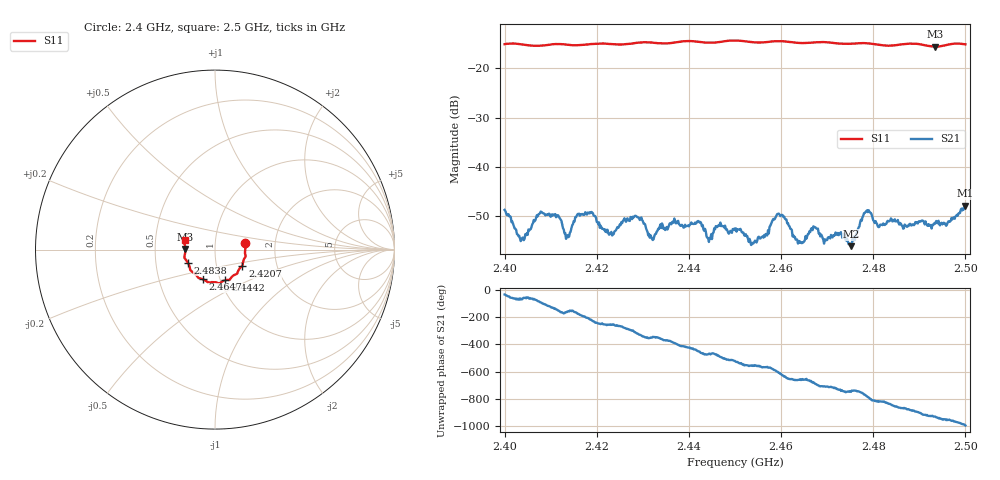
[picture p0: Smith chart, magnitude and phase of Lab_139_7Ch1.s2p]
# Hz S RI R 50
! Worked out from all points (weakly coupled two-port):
!   601 points, 2.4 GHz to 2.5 GHz, reference 50 ohm
!   highest |S21| = -47.80 dB at 2.5 GHz (marker M1); lowest = -56.0 dB at 2.4752 GHz (marker M2)
!   lowest |S11| = -15.7 dB at 2.4935 GHz (marker M3), VSWR 1.39, Z = 35.9 + j0.131 ohm
!   |S11| at or under -10 dB: start of sweep to end of sweep
!   S12 and S22 are empty: the file has one direction only
!   S11 on the Smith chart (normalised r, x): 2.4 GHz: 1.40, +0.11; 2.4207 GHz: 1.33, -0.24; 2.4442 GHz: 1.06, -0.37; 2.4647 GHz: 0.83, -0.28; 2.4838 GHz: 0.73, -0.11; 2.5 GHz: 0.71, +0.08
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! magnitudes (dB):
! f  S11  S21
! 2.4 GHz  -15.2  -48.7
! 2.4038 GHz  -15.3  -54.3
! 2.4078 GHz  -15.5  -49.0
! 2.4118 GHz  -15.2  -50.1
! 2.4135 GHz  -15.3  -54.2
! 2.4167 GHz  -15.3  -49.6
! 2.4207 GHz  -15.1  -52.3
! 2.4283 GHz  -15.0  -49.9
! 2.4333 GHz  -15.0  -52.5
! 2.4422 GHz  -14.7  -51.0
! 2.4442 GHz  -14.9  -54.4
! 2.45 GHz  -14.4  -52.8
! 2.454 GHz  -14.8  -55.4
! 2.4597 GHz  -14.6  -49.6
! 2.4647 GHz  -15.0  -55.2
! 2.4667 GHz  -14.9  -52.4
! 2.4752 GHz  -15.1  -56.0
! 2.4785 GHz  -15.0  -48.9
! 2.4833 GHz  -15.5  -51.0
! 2.4838 GHz  -15.5  -50.4
! 2.4935 GHz  -15.7  -51.4
! 2.5 GHz  -15.2  -47.8
